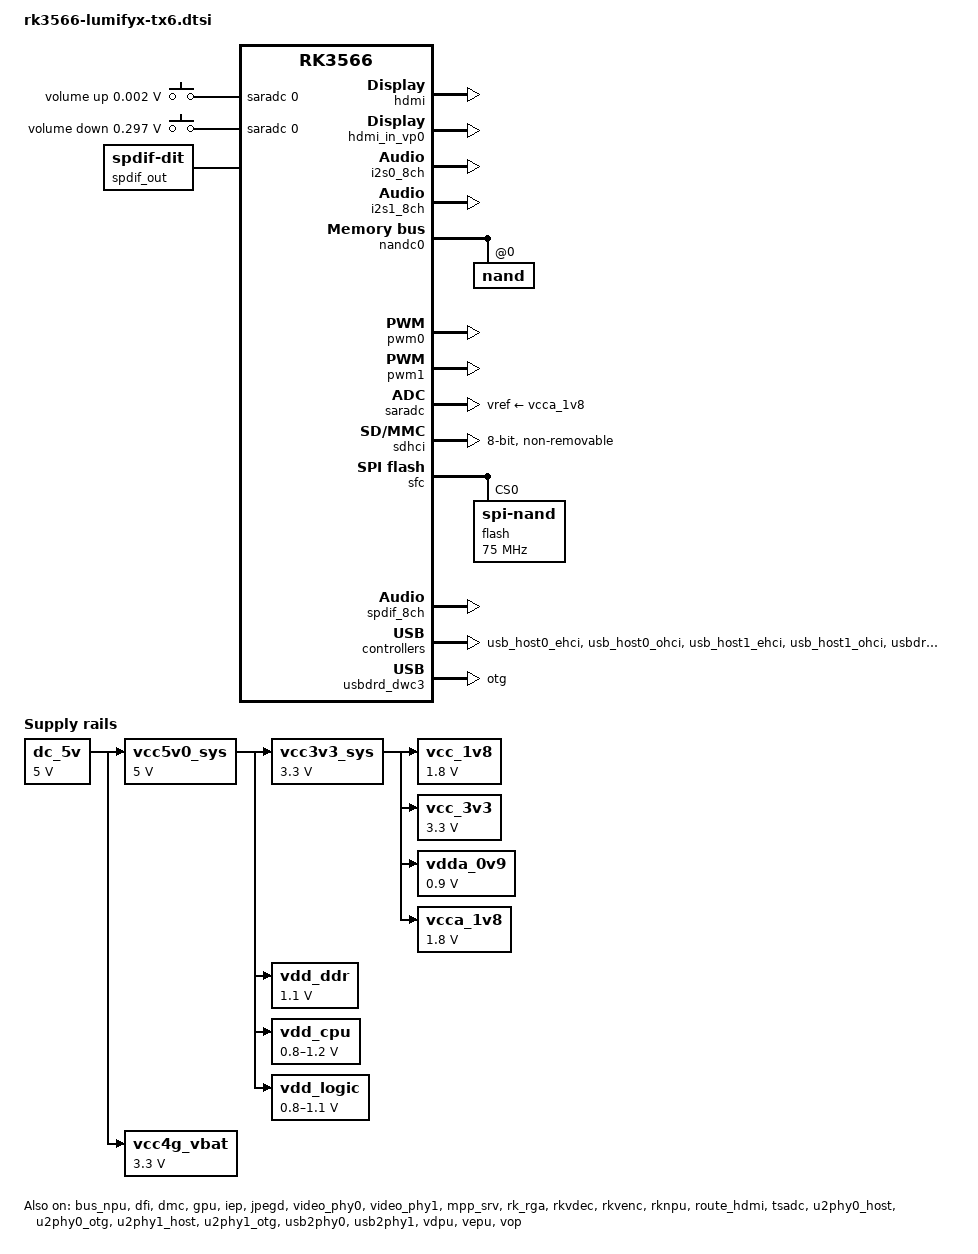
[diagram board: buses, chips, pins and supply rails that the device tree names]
// SPDX-License-Identifier: (GPL-2.0+ OR MIT)
/*
 * Copyright (c) 2020 Rockchip Electronics Co., Ltd.
 *
 */

#include <dt-bindings/gpio/gpio.h>
#include <dt-bindings/pwm/pwm.h>
#include <dt-bindings/pinctrl/rockchip.h>
#include <dt-bindings/input/rk-input.h>
#include <dt-bindings/display/drm_mipi_dsi.h>
#include <dt-bindings/sensor-dev.h>

/ {

	adc_keys: adc-keys {
                compatible = "adc-keys";
                io-channels = <&saradc 0>;
                io-channel-names = "buttons";
                keyup-threshold-microvolt = <1800000>;
                poll-interval = <100>;

                vol-up-key {
                        label = "volume up";
                        linux,code = <KEY_VOLUMEUP>;
                        press-threshold-microvolt = <1750>;
                };

                vol-down-key {
                        label = "volume down";
                        linux,code = <KEY_VOLUMEDOWN>;
                        press-threshold-microvolt = <297500>;
                };
        };

	 dc_5v: dc-5v {
                compatible = "regulator-fixed";
                regulator-name = "dc_5v";
                regulator-always-on;
                regulator-boot-on;
                regulator-min-microvolt = <5000000>;
                regulator-max-microvolt = <5000000>;
        };

        hdmi_sound: hdmi-sound {
                compatible = "simple-audio-card";
                simple-audio-card,format = "i2s";
                simple-audio-card,mclk-fs = <128>;
                simple-audio-card,name = "hdmi-sound";
                status = "okay";

                simple-audio-card,cpu {
                                sound-dai = <&i2s0_8ch>;
                };
                simple-audio-card,codec {
                                sound-dai = <&hdmi>;
                };
        };

  	spdif_sound: spdif-sound {
                status = "okay";
                compatible = "simple-audio-card";
                simple-audio-card,name = "ROCKCHIP,SPDIF";
                simple-audio-card,cpu {
                                sound-dai = <&spdif_8ch>;
                };
                simple-audio-card,codec {
                                sound-dai = <&spdif_out>;
                };
        };

        spdif_out: spdif-out {
                        status = "okay";
                        compatible = "linux,spdif-dit";
                        #sound-dai-cells = <0>;
        };

         vcc5v0_sys: vcc5v0-sys {
                compatible = "regulator-fixed";
                regulator-name = "vcc5v0_sys";
                regulator-always-on;
                regulator-boot-on;
                regulator-min-microvolt = <5000000>;
                regulator-max-microvolt = <5000000>;
                vin-supply = <&dc_5v>;
        };

 	vcc3v3_sys: vcc3v3-sys {
                compatible = "regulator-fixed";
                regulator-name = "vcc3v3_sys";
                regulator-always-on;
                regulator-boot-on;
                regulator-min-microvolt = <3300000>;
                regulator-max-microvolt = <3300000>;
                vin-supply = <&vcc5v0_sys>;
        };

        vcc4g_vbat: vcc4g-vbat {
                compatible = "regulator-fixed";
                regulator-name = "vcc4g_vbat";
                regulator-always-on;
                regulator-boot-on;
                regulator-min-microvolt = <3300000>;
                regulator-max-microvolt = <3300000>;
                vin-supply = <&dc_5v>;
        };

        vcc_1v8: vcc_1v8 {
                compatible = "regulator-fixed";
                regulator-name = "vcc_1v8";
                regulator-always-on;
                regulator-boot-on;
                regulator-min-microvolt = <1800000>;
                regulator-max-microvolt = <1800000>;
                vin-supply = <&vcc3v3_sys>;
        };

	vcc_3v3: vcc_3v3{
                compatible = "regulator-fixed";
                regulator-name = "vcc_3v3";
                regulator-always-on;
                regulator-boot-on;
                regulator-min-microvolt = <3300000>;
                regulator-max-microvolt = <3300000>;
                vin-supply = <&vcc3v3_sys>;
        };

        vdd_ddr: vdd-ddr{
                compatible = "regulator-fixed";
                regulator-name = "vdd_ddr";
                regulator-min-microvolt = <1100000>;
                regulator-max-microvolt = <1100000>;
                regulator-always-on;
                regulator-boot-on;
                vin-supply = <&vcc5v0_sys>;
        };

	 vdd_cpu: vdd-cpu {
                compatible = "pwm-regulator";
                pwms = <&pwm0 0 5000 1>;
                regulator-name = "vdd_cpu";
                regulator-min-microvolt = <800000>;
                regulator-max-microvolt = <1200000>;
                regulator-init-microvolt = <950000>;
                regulator-always-on;
                regulator-boot-on;
                regulator-settling-time-up-us = <250>;
                pwm-supply = <&vcc5v0_sys>;
                status = "okay";
        };

        vdd_logic: vdd-logic {
                compatible = "pwm-regulator";
                pwms = <&pwm1 0 5000 1>;
                regulator-name = "vdd_logic";
                regulator-min-microvolt = <800000>;
                regulator-max-microvolt = <1100000>;
                regulator-init-microvolt = <920000>;
                regulator-always-on;
                regulator-boot-on;
                regulator-settling-time-up-us = <250>;
                pwm-supply = <&vcc5v0_sys>;
                status = "okay";
        };

	vdda_0v9: vdda-0v9 {
                compatible = "regulator-fixed";
                regulator-name = "vdda_0v9";
                regulator-min-microvolt = <900000>;
                regulator-max-microvolt = <900000>;
                regulator-always-on;
                regulator-boot-on;
                vin-supply = <&vcc3v3_sys>;
        };

        vcca_1v8: vcca-1v8 {
                compatible = "regulator-fixed";
                regulator-name = "vcca_1v8";
                regulator-min-microvolt = <1800000>;
                regulator-max-microvolt = <1800000>;
                regulator-always-on;
                regulator-boot-on;
                vin-supply = <&vcc3v3_sys>;
        };


	bt_sco: bt-sco {
		status = "disabled";
		compatible = "delta,dfbmcs320";
		#sound-dai-cells = <1>;
	};

	bt_sound: bt-sound {
		status = "disabled";
		compatible = "simple-audio-card";
		simple-audio-card,format = "dsp_a";
		simple-audio-card,bitclock-inversion;
		simple-audio-card,mclk-fs = <256>;
		simple-audio-card,name = "rockchip,bt";
		simple-audio-card,cpu {
			sound-dai = <&i2s3_2ch>;
		};
		simple-audio-card,codec {
			sound-dai = <&bt_sco 1>;
		};
	};
};

&bus_npu {
	bus-supply = <&vdd_logic>;
	pvtm-supply = <&vdd_cpu>;
	status = "okay";
};

&cpu0 {
	cpu-supply = <&vdd_cpu>;
};

&dfi {
	status = "okay";
};

&dmc {
	auto-freq-en = <0>;
	center-supply = <&vdd_ddr>;
	status = "okay";
};

&gpu {
	mali-supply = <&vdd_logic>;
	status = "okay";
};

&hdmi {
	status = "okay";
	rockchip,phy-table =
		<92812500  0x8009 0x0000 0x0270>,
		<165000000 0x800b 0x0000 0x026d>,
		<185625000 0x800b 0x0000 0x01ed>,
		<297000000 0x800b 0x0000 0x01ad>,
		<594000000 0x8029 0x0000 0x0088>,
		<000000000 0x0000 0x0000 0x0000>;
};

&hdmi_in_vp0 {
	status = "okay";
};

&hdmi_in_vp1 {
	status = "disabled";
};

&hdmi_sound {
	status = "okay";
};

&i2s0_8ch {
	status = "okay";
};

&i2s1_8ch {
	status = "okay";
	rockchip,clk-trcm = <1>;
	pinctrl-names = "default";
	pinctrl-0 = <&i2s1m0_sclktx
		     &i2s1m0_lrcktx
		     &i2s1m0_sdi0
		     &i2s1m0_sdo0>;
};

&iep {
	status = "okay";
};

&iep_mmu {
	status = "okay";
};

&jpegd {
	status = "okay";
};

&jpegd_mmu {
	status = "okay";
};

&video_phy0 {
        status = "okay";
};

&video_phy1 {
        status = "okay";
};

&mpp_srv {
	status = "okay";
};

&nandc0 {
	#address-cells = <1>;
	#size-cells = <0>;
	status = "okay";

	nand@0 {
		reg = <0>;
		nand-bus-width = <8>;
		nand-ecc-mode = "hw";
		nand-ecc-strength = <16>;
		nand-ecc-step-size = <1024>;
	};
};

 /*
  * There are 10 independent IO domains in RK3566/RK3568, including PMUIO[0:2] and VCCIO[1:7].
  * 1/ PMUIO0 and PMUIO1 are fixed-level power domains which cannot be configured;
  * 2/ PMUIO2 and VCCIO1,VCCIO[3:7] domains require that their hardware power supply voltages
  *    must be consistent with the software configuration correspondingly
  *	a/ When the hardware IO level is connected to 1.8V, the software voltage configuration
  *	   should also be configured to 1.8V accordingly;
  *	b/ When the hardware IO level is connected to 3.3V, the software voltage configuration
  *	   should also be configured to 3.3V accordingly;
  * 3/ VCCIO2 voltage control selection (0xFDC20140)
  *	BIT[0]: 0x0: from GPIO_0A7 (default)
  *	BIT[0]: 0x1: from GRF
  *    Default is determined by Pin FLASH_VOL_SEL/GPIO0_A7:
  *	L:VCCIO2 must supply 3.3V
  *	H:VCCIO2 must supply 1.8V
  */
&pmu_io_domains {
	status = "okay";
	pmuio2-supply = <&vcc3v3_pmu>;
	vccio1-supply = <&vccio_acodec>;
	vccio3-supply = <&vccio_sd>;
	vccio4-supply = <&vcc_3v3>;
	vccio5-supply = <&vcc_3v3>;
	vccio6-supply = <&vcc_3v3>;
	vccio7-supply = <&vcc_3v3>;
};
	
&pwm0 {
        status = "okay";
        pinctrl-names = "active";
};

&pwm1 {
        status = "okay";
        pinctrl-names = "active";
};
		
&rk_rga {
	status = "okay";
};

&rkvdec {
	status = "okay";
};

&rkvdec_mmu {
	status = "okay";
};

&rkvenc {
	venc-supply = <&vdd_logic>;
	status = "okay";
};

&rkvenc_mmu {
	status = "okay";
};

&rockchip_suspend {
        status = "okay";
        rockchip,sleep-mode-config = <
                (0
                | RKPM_SLP_CENTER_OFF
                | RKPM_SLP_HW_PLLS_OFF
                | RKPM_SLP_PMUALIVE_32K
                | RKPM_SLP_PMIC_LP
                | RKPM_SLP_32K_PVTM
                )
        >;
        rockchip,wakeup-config = <
                (0
                | RKPM_PWM0_WKUP_EN
                | RKPM_CPU0_WKUP_EN
                )
        >;
};

&rknpu {
	rknpu-supply = <&vdd_ddr>;
	status = "okay";
};

&rknpu_mmu {
	status = "okay";
};

&route_hdmi {
	status = "okay";
	connect = <&vp0_out_hdmi>;
};

&saradc {
	status = "okay";
	vref-supply = <&vcca_1v8>;
};

&sdhci {
	bus-width = <8>;
	no-sdio;
	no-sd;
	non-removable;
	max-frequency = <200000000>;
	full-pwr-cycle-in-suspend;
	status = "okay";
};

&sfc {
	status = "okay";

	flash@0 {
		compatible = "spi-nand";
		reg = <0>;
		spi-max-frequency = <75000000>;
		spi-rx-bus-width = <4>;
		spi-tx-bus-width = <1>;
	};
};

&spdif_8ch {
	status = "okay";
};

&tsadc {
	status = "okay";
};

&u2phy0_host {
	phy-supply = <&vcc5v0_host>;
	status = "okay";
};

&u2phy0_otg {
	vbus-supply = <&vcc5v0_otg>;
	status = "okay";
};

&u2phy1_host {
	phy-supply = <&vcc5v0_host>;
	status = "okay";
};

&u2phy1_otg {
	phy-supply = <&vcc5v0_host>;
	status = "okay";
};

&usb2phy0 {
	status = "okay";
};

&usb2phy1 {
	status = "okay";
};

&usb_host0_ehci {
	status = "okay";
};

&usb_host0_ohci {
	status = "okay";
};

&usb_host1_ehci {
	status = "okay";
};

&usb_host1_ohci {
	status = "okay";
};

&usbdrd_dwc3 {
	dr_mode = "otg";
	extcon = <&usb2phy0>;
	status = "okay";
};

&usbdrd30 {
	status = "okay";
};

&usbhost_dwc3 {
	status = "okay";
};

&usbhost30 {
	status = "okay";
};


&vdpu {
	status = "okay";
};

&vdpu_mmu {
	status = "okay";
};

&vepu {
	status = "okay";
};

&vepu_mmu {
	status = "okay";
};

&vop {
	status = "okay";
	assigned-clocks = <&cru DCLK_VOP0>, <&cru DCLK_VOP1>, <&cru DCLK_VOP2>;
	assigned-clock-parents = <&pmucru PLL_HPLL>, <&cru PLL_VPLL>, <&cru PLL_GPLL>;
};

&vop_mmu {
	status = "okay";
};
